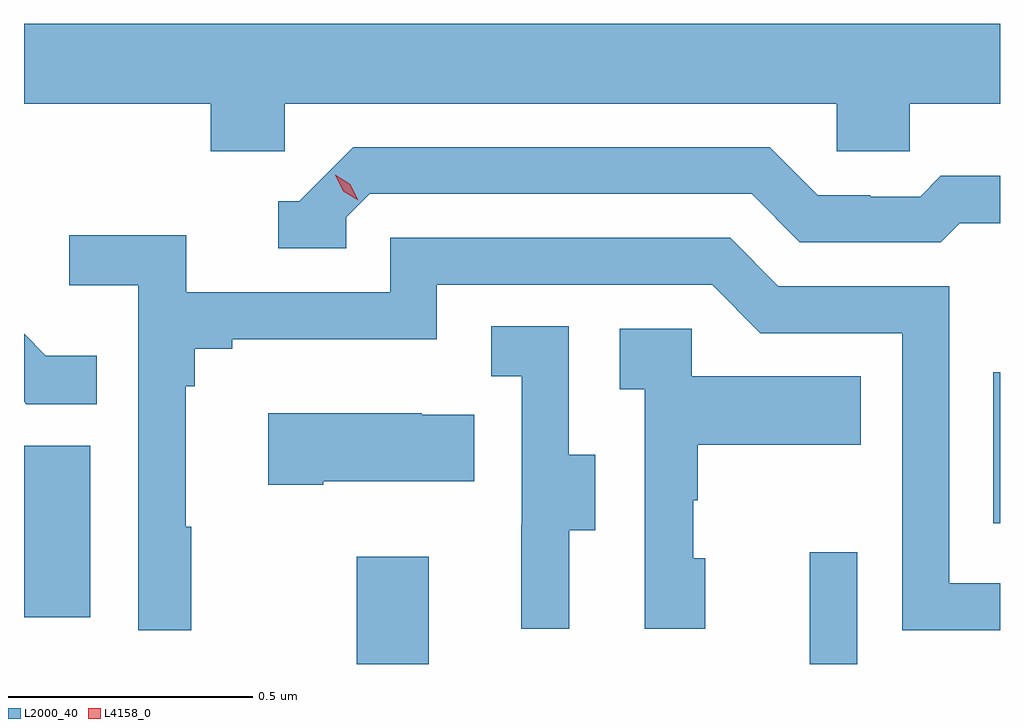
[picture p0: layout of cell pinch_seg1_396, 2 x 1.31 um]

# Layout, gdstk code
import gdstk
lib = gdstk.Library(unit=1e-6, precision=1e-09)
def R(c, l, rs):  # rectangles x0, y0, x1, y1
    for r in rs: c.add(gdstk.rectangle(r[:2], r[2:], *l))
def P(c, l, *ps):  # polygons
    for p in ps: c.add(gdstk.Polygon(p, *l))
L2000_40 = (2000, 40)
L4158_0 = (4158, 0)

pinch_seg1_396 = lib.new_cell('pinch_seg1_396')
R(pinch_seg1_396, L2000_40, [(987.448,531.935,987.595,532.156), (988.376,531.935,988.473,532.165), (986.766,532.032,986.902,532.383), (988.752,532.224,988.766,532.534)])
P(pinch_seg1_396, L2000_40, [(987.3,533.084),(988.431,533.084),(988.431,532.986),(988.581,532.986),(988.581,533.084),(988.766,533.084),(988.766,533.248),(986.766,533.248),(986.766,533.084),(987.149,533.084),(987.149,532.986),(987.3,532.986)],
  [(987.426,532.851),(987.474,532.899),(988.257,532.899),(988.356,532.8),(988.645,532.8),(988.684,532.839),(988.766,532.839),(988.766,532.936),(988.645,532.936),(988.603,532.893),(988.5,532.893),(988.5,532.896),(988.393,532.896),(988.294,532.995),(987.441,532.995),(987.33,532.884),(987.287,532.884),(987.287,532.788),(987.426,532.788)],
  [(987.109,532.217),(987.097,532.217),(987.097,532.505),(987.116,532.505),(987.116,532.582),(987.193,532.582),(987.193,532.601),(987.612,532.601),(987.612,532.713),(988.176,532.713),(988.275,532.614),(988.566,532.614),(988.566,532.005),(988.766,532.005),(988.766,532.101),(988.662,532.101),(988.662,532.71),(988.312,532.71),(988.213,532.809),(987.516,532.809),(987.516,532.698),(987.098,532.698),(987.098,532.814),(986.859,532.814),(986.859,532.712),(987,532.712),(987,532.005),(987.109,532.005)],
  [(987.883,532.21),(987.937,532.21),(987.937,532.365),(987.882,532.365),(987.882,532.628),(987.723,532.628),(987.723,532.525),(987.786,532.525),(987.786,532.221),(987.785,532.221),(987.785,532.008),(987.883,532.008)],
  [(988.162,532.152),(988.137,532.152),(988.137,532.271),(988.147,532.271),(988.147,532.385),(988.481,532.385),(988.481,532.525),(988.134,532.525),(988.134,532.623),(987.987,532.623),(987.987,532.499),(988.038,532.499),(988.038,532.008),(988.162,532.008)],
  [(986.915,532.567),(986.811,532.567),(986.766,532.612),(986.766,532.473),(986.771,532.468),(986.915,532.468)],
  [(987.379,532.31),(987.689,532.31),(987.689,532.447),(987.581,532.447),(987.581,532.45),(987.267,532.45),(987.267,532.303),(987.379,532.303)])
P(pinch_seg1_396, L4158_0, [(987.451,532.886),(987.42,532.905),(987.404,532.938),(987.404,532.938),(987.404,532.938),(987.435,532.919),(987.451,532.886),(987.451,532.886)])

lib.write_gds('pinch_seg1_396.gds')
